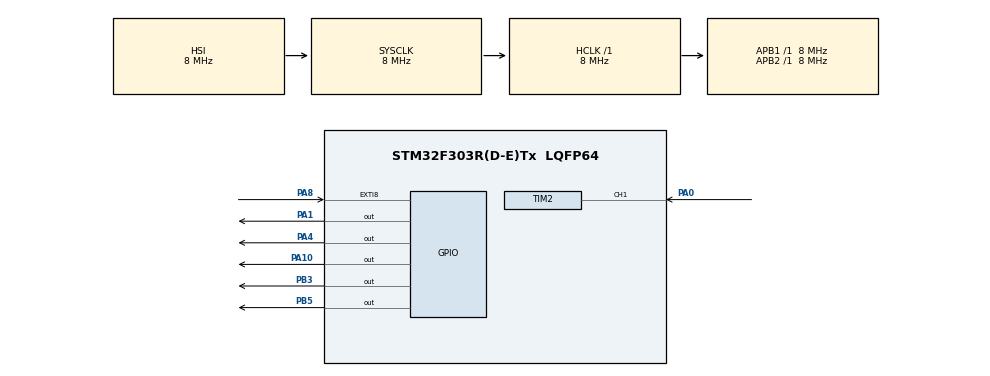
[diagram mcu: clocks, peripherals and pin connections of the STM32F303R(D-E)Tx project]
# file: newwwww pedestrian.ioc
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Mcu.Family=STM32F3
Mcu.Name=STM32F303R(D-E)Tx
Mcu.Package=LQFP64
NVIC.EXTI9_5_IRQn=true\:0\:0\:false\:false\:true\:true\:true\:true
NVIC.PriorityGroup=NVIC_PRIORITYGROUP_4
NVIC.TIM2_IRQn=true\:0\:0\:false\:false\:true\:true\:true\:true
PA0.Signal=S_TIM2_CH1_ETR
PA1.Signal=GPIO_Output
PA10.Signal=GPIO_Output
PA4.Signal=GPIO_Output
PA8.GPIO_PuPd=GPIO_PULLDOWN
PA8.Signal=GPXTI8
PB3.Signal=GPIO_Output
PB5.Signal=GPIO_Output
ProjectManager.HeapSize=0x200
ProjectManager.StackSize=0x400
ProjectManager.TargetToolchain=MDK-ARM V5.32
RCC.AHBFreq_Value=8000000
RCC.APB1Freq_Value=8000000
RCC.APB2Freq_Value=8000000
RCC.CortexFreq_Value=8000000
RCC.HSE_VALUE=8000000
RCC.HSI_VALUE=8000000
RCC.LSE_VALUE=32768
RCC.SYSCLKFreq_VALUE=8000000
RCC.USBFreq_Value=16000000
SH.S_TIM2_CH1_ETR.0=TIM2_CH1,Input_Capture1_from_TI1
TIM2.Channel-Input_Capture1_from_TI1=TIM_CHANNEL_1
TIM2.Period=1000-1
TIM2.Prescaler=8000-1
VP_TIM2_VS_ClockSourceINT.Mode=Internal
board=custom

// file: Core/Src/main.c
/* USER CODE BEGIN Header */
/**
  ******************************************************************************
  * @file           : main.c
  * @brief          : Main program body
  ******************************************************************************
  * @attention
  *
  * Copyright (c) 2025 STMicroelectronics.
  * All rights reserved.
  *
  * This software is licensed under terms that can be found in the LICENSE file
  * in the root directory of this software component.
  * If no LICENSE file comes with this software, it is provided AS-IS.
  *
  ******************************************************************************
  */
/* USER CODE END Header */
#include "main.h"

TIM_HandleTypeDef htim2;

void SystemClock_Config(void);
static void MX_GPIO_Init(void);
static void MX_TIM2_Init(void);

/* USER CODE BEGIN 0 */

volatile uint8_t pedestrian_request = 0;
void pedestrian_crossing_sequence(void);

/* USER CODE END 0 */

int main(void)
{

  /* MCU Configuration--------------------------------------------------------*/

  /* Reset of all peripherals, Initializes the Flash interface and the Systick. */
  HAL_Init();

  /* Configure the system clock */
  SystemClock_Config();

  /* Initialize all configured peripherals */
  MX_GPIO_Init();
  MX_TIM2_Init();
  /* USER CODE BEGIN 2 */
  HAL_GPIO_WritePin(GPIOA, GPIO_PIN_1, GPIO_PIN_RESET); // Traffic Red OFF
  HAL_GPIO_WritePin(GPIOA, GPIO_PIN_4, GPIO_PIN_RESET); // Traffic Yellow OFF
  HAL_GPIO_WritePin(GPIOA, GPIO_PIN_10, GPIO_PIN_SET);  // Traffic Green ON
  HAL_GPIO_WritePin(GPIOB, GPIO_PIN_3, GPIO_PIN_SET);   // Pedestrian Red ON
  HAL_GPIO_WritePin(GPIOB, GPIO_PIN_5, GPIO_PIN_RESET); // Pedestrian Green OFF
  /* USER CODE END 2 */

  /* Infinite loop */
  /* USER CODE BEGIN WHILE */
  while (1)
  {
	  if (pedestrian_request)
  {
    pedestrian_crossing_sequence();
    pedestrian_request = 0;
  }
    /* USER CODE END WHILE */

  }
}

void SystemClock_Config(void)
{
  RCC_OscInitTypeDef RCC_OscInitStruct = {0};
  RCC_ClkInitTypeDef RCC_ClkInitStruct = {0};
  RCC_PeriphCLKInitTypeDef PeriphClkInit = {0};

  /** Initializes the RCC Oscillators according to the specified parameters
  * in the RCC_OscInitTypeDef structure.
  */
  RCC_OscInitStruct.OscillatorType = RCC_OSCILLATORTYPE_HSI;
  RCC_OscInitStruct.HSIState = RCC_HSI_ON;
  RCC_OscInitStruct.HSICalibrationValue = RCC_HSICALIBRATION_DEFAULT;
  RCC_OscInitStruct.PLL.PLLState = RCC_PLL_NONE;
  if (HAL_RCC_OscConfig(&RCC_OscInitStruct) != HAL_OK)
  {
    Error_Handler();
  }

  /** Initializes the CPU, AHB and APB buses clocks
  */
  RCC_ClkInitStruct.ClockType = RCC_CLOCKTYPE_HCLK|RCC_CLOCKTYPE_SYSCLK
                              |RCC_CLOCKTYPE_PCLK1|RCC_CLOCKTYPE_PCLK2;
  RCC_ClkInitStruct.SYSCLKSource = RCC_SYSCLKSOURCE_HSI;
  RCC_ClkInitStruct.AHBCLKDivider = RCC_SYSCLK_DIV1;
  RCC_ClkInitStruct.APB1CLKDivider = RCC_HCLK_DIV1;
  RCC_ClkInitStruct.APB2CLKDivider = RCC_HCLK_DIV1;

  if (HAL_RCC_ClockConfig(&RCC_ClkInitStruct, FLASH_LATENCY_0) != HAL_OK)
  {
    Error_Handler();
  }
  PeriphClkInit.PeriphClockSelection = RCC_PERIPHCLK_TIM2;
  PeriphClkInit.Tim2ClockSelection = RCC_TIM2CLK_HCLK;
  if (HAL_RCCEx_PeriphCLKConfig(&PeriphClkInit) != HAL_OK)
  {
    Error_Handler();
  }
}

static void MX_TIM2_Init(void)
{

  TIM_ClockConfigTypeDef sClockSourceConfig = {0};
  TIM_MasterConfigTypeDef sMasterConfig = {0};
  TIM_IC_InitTypeDef sConfigIC = {0};

  htim2.Instance = TIM2;
  htim2.Init.Prescaler = 8000-1;
  htim2.Init.CounterMode = TIM_COUNTERMODE_UP;
  htim2.Init.Period = 1000-1;
  htim2.Init.ClockDivision = TIM_CLOCKDIVISION_DIV1;
  htim2.Init.AutoReloadPreload = TIM_AUTORELOAD_PRELOAD_DISABLE;
  if (HAL_TIM_Base_Init(&htim2) != HAL_OK)
  {
    Error_Handler();
  }
  sClockSourceConfig.ClockSource = TIM_CLOCKSOURCE_INTERNAL;
  if (HAL_TIM_ConfigClockSource(&htim2, &sClockSourceConfig) != HAL_OK)
  {
    Error_Handler();
  }
  if (HAL_TIM_IC_Init(&htim2) != HAL_OK)
  {
    Error_Handler();
  }
  sMasterConfig.MasterOutputTrigger = TIM_TRGO_RESET;
  sMasterConfig.MasterSlaveMode = TIM_MASTERSLAVEMODE_DISABLE;
  if (HAL_TIMEx_MasterConfigSynchronization(&htim2, &sMasterConfig) != HAL_OK)
  {
    Error_Handler();
  }
  sConfigIC.ICPolarity = TIM_INPUTCHANNELPOLARITY_RISING;
  sConfigIC.ICSelection = TIM_ICSELECTION_DIRECTTI;
  sConfigIC.ICPrescaler = TIM_ICPSC_DIV1;
  sConfigIC.ICFilter = 0;
  if (HAL_TIM_IC_ConfigChannel(&htim2, &sConfigIC, TIM_CHANNEL_1) != HAL_OK)
  {
    Error_Handler();
  }

}

static void MX_GPIO_Init(void)
{
  GPIO_InitTypeDef GPIO_InitStruct = {0};

  /* GPIO Ports Clock Enable */
  __HAL_RCC_GPIOA_CLK_ENABLE();
  __HAL_RCC_GPIOB_CLK_ENABLE();

  /*Configure GPIO pin Output Level */
  HAL_GPIO_WritePin(GPIOA, GPIO_PIN_1|GPIO_PIN_4|GPIO_PIN_10, GPIO_PIN_RESET);

  /*Configure GPIO pin Output Level */
  HAL_GPIO_WritePin(GPIOB, GPIO_PIN_3|GPIO_PIN_5, GPIO_PIN_RESET);

  /*Configure GPIO pins : PA1 PA4 PA10 */
  GPIO_InitStruct.Pin = GPIO_PIN_1|GPIO_PIN_4|GPIO_PIN_10;
  GPIO_InitStruct.Mode = GPIO_MODE_OUTPUT_PP;
  GPIO_InitStruct.Pull = GPIO_NOPULL;
  GPIO_InitStruct.Speed = GPIO_SPEED_FREQ_LOW;
  HAL_GPIO_Init(GPIOA, &GPIO_InitStruct);

  /*Configure GPIO pin : PA8 */
  GPIO_InitStruct.Pin = GPIO_PIN_8;
  GPIO_InitStruct.Mode = GPIO_MODE_IT_RISING;
  GPIO_InitStruct.Pull = GPIO_PULLDOWN;
  HAL_GPIO_Init(GPIOA, &GPIO_InitStruct);

  /*Configure GPIO pins : PB3 PB5 */
  GPIO_InitStruct.Pin = GPIO_PIN_3|GPIO_PIN_5;
  GPIO_InitStruct.Mode = GPIO_MODE_OUTPUT_PP;
  GPIO_InitStruct.Pull = GPIO_NOPULL;
  GPIO_InitStruct.Speed = GPIO_SPEED_FREQ_LOW;
  HAL_GPIO_Init(GPIOB, &GPIO_InitStruct);

  /* EXTI interrupt init*/
  HAL_NVIC_SetPriority(EXTI9_5_IRQn, 0, 0);
  HAL_NVIC_EnableIRQ(EXTI9_5_IRQn);

}

/* USER CODE BEGIN 4 */

void HAL_GPIO_EXTI_Callback(uint16_t GPIO_Pin)
{
  if (GPIO_Pin == GPIO_PIN_8)
    pedestrian_request = 1;
}

void pedestrian_crossing_sequence(void)
{

  HAL_GPIO_WritePin(GPIOA, GPIO_PIN_10, GPIO_PIN_RESET); // Traffic Green OFF
  HAL_GPIO_WritePin(GPIOA, GPIO_PIN_4, GPIO_PIN_SET);    // Yellow ON
  HAL_Delay(2000);
  HAL_GPIO_WritePin(GPIOA, GPIO_PIN_4, GPIO_PIN_RESET);  // Yellow OFF
  HAL_GPIO_WritePin(GPIOA, GPIO_PIN_1, GPIO_PIN_SET);    // Red ON

  HAL_GPIO_WritePin(GPIOB, GPIO_PIN_3, GPIO_PIN_RESET);  // Pedestrian Red OFF
  HAL_GPIO_WritePin(GPIOB, GPIO_PIN_5, GPIO_PIN_SET);    // Pedestrian Green ON
  HAL_Delay(5000);

  for (int i = 0; i < 5; i++)
  {
    HAL_GPIO_TogglePin(GPIOB, GPIO_PIN_5);
    HAL_Delay(500);
  }

  HAL_GPIO_WritePin(GPIOB, GPIO_PIN_5, GPIO_PIN_RESET);  // Pedestrian Green OFF
  HAL_GPIO_WritePin(GPIOB, GPIO_PIN_3, GPIO_PIN_SET);    // Pedestrian Red ON
  HAL_GPIO_WritePin(GPIOA, GPIO_PIN_1, GPIO_PIN_RESET);  // Red OFF
  HAL_GPIO_WritePin(GPIOA, GPIO_PIN_4, GPIO_PIN_SET);    // Yellow ON
  HAL_Delay(2000);
  HAL_GPIO_WritePin(GPIOA, GPIO_PIN_4, GPIO_PIN_RESET);  // Yellow OFF
  HAL_GPIO_WritePin(GPIOA, GPIO_PIN_10, GPIO_PIN_SET);   // Green ON
}

/* USER CODE END 4 */

void Error_Handler(void)
{
  __disable_irq();
  while (1)
  {
  }
}
